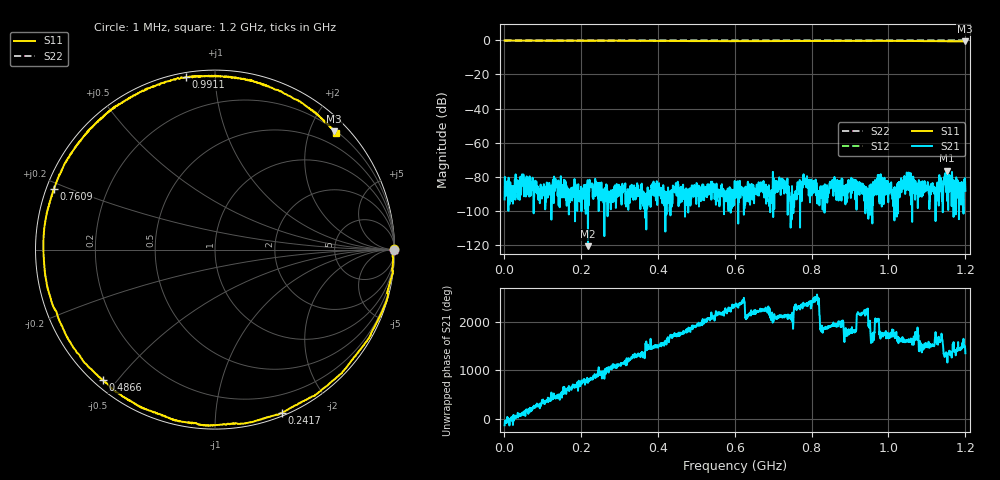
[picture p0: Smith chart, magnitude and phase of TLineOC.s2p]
! Anritsu VNA Master:  Model: MS2025B
! SN:  1642059
! /bd0/PROE/TP1/P2/TLineOC.s2p
! Existing Calibration Information:
! TYPE:  Current Settings,  Active Cal Settings
! TIME:  04/23/2024 09:29:02 AM,  03/12/2018 11:45:53 AM
! INTERNAL TEMP:  43.8 C,  40.8 C
! # POINTS:  1715,  4001
! START FREQ:  1.000 MHz,  1.000 MHz
! STOP FREQ:  1.200 371 500 GHz,  2.800 GHz
! SOURCE POWER:  Default,  Default
! IFBW:  1 kHz,  1 kHz
! AVG FACTOR:  1 ,  1
! REF PLANE 1:  0 mm,  0 mm
! REF PLANE 2:  0 mm,  0 mm
! CAL TYPE:  1P2P S11,S21,  1P2P S11,S21
! CAL METHOD:  SOLT,  SOLT
! CAL LINE TYPE:  Coax,  Coax
! DUT PORT 1:  ,
! DUT PORT 2:  N-Conn(M),  N-Conn(M)
! CAL STATUS:  OK: Accuracy High,  --
# GHZ S MA R 50.0
! FREQ.GHZ  S11M  S11A  S21M  S21A  S12M  S12A  S22M  S22A
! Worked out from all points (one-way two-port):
!   1715 points, 1 MHz to 1.2 GHz, reference 50 ohm
!   highest |S21| = -76.43 dB at 1.152 GHz (marker M1); lowest = -120.9 dB at 217.9 MHz (marker M2)
!   lowest |S11| = -0.6 dB at 1.198 GHz (marker M3), VSWR 29.94, Z = 11.4 + j120 ohm
!   |S11| at or under -10 dB: nowhere
!   |S22| runs from 0.0 to 0.0 dB; largest |S21 - S12| = 1
!   S11 on the Smith chart (normalised r, x): 1 MHz: open; 241.7 MHz: 0.03, -1.49; 486.6 MHz: 0.03, -0.46; 760.9 MHz: 0.02, +0.18; 991.1 MHz: 0.02, +0.84; 1.2 GHz: 0.23, +2.45
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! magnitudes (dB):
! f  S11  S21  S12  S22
! 1 MHz  0.0  -93.5  0.0  0.0
! 201.1 MHz  -0.2  -100.4  0.0  0.0
! 217.9 MHz  -0.2  -120.9  0.0  0.0
! 241.7 MHz  -0.1  -85.9  0.0  0.0
! 401.3 MHz  -0.3  -85.3  0.0  0.0
! 486.6 MHz  -0.4  -93.0  0.0  0.0
! 600.7 MHz  -0.4  -87.3  0.0  0.0
! 760.9 MHz  -0.4  -93.4  0.0  0.0
! 800.8 MHz  -0.3  -87.9  0.0  0.0
! 966 MHz  -0.2  -85.7  0.0  0.0
! 974.4 MHz  -0.2  -82.1  0.0  0.0
! 991.1 MHz  -0.2  -86.1  0.0  0.0
! 1.001 GHz  -0.2  -84.0  0.0  0.0
! 1.042 GHz  -0.3  -79.6  0.0  0.0
! 1.053 GHz  -0.3  -77.6  0.0  0.0
! 1.065 GHz  -0.3  -80.0  0.0  0.0
! 1.141 GHz  -0.4  -97.2  0.0  0.0
! 1.146 GHz  -0.5  -81.0  0.0  0.0
! 1.152 GHz  -0.5  -76.4  0.0  0.0
! 1.158 GHz  -0.5  -88.9  0.0  0.0
! 1.198 GHz  -0.6  -83.3  0.0  0.0
! 1.2 GHz  -0.6  -88.4  0.0  0.0
